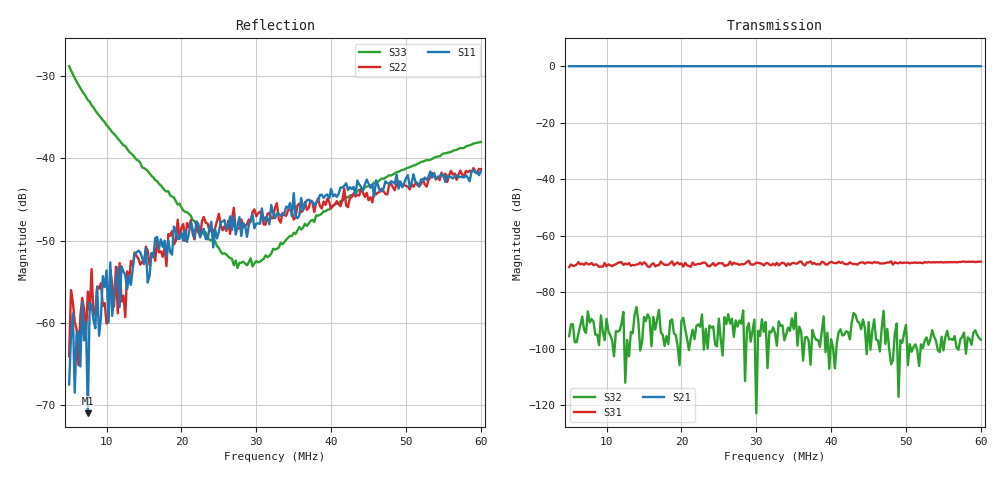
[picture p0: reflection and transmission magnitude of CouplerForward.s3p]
#  HZ  S  DB  R  50.00
! Rohde & Schwarz ZVT8 8Ports - Version 4.11 - 1300.0000k08 SN: 100242
! Date: 2023-12-01 11:24:01
! Measurements: S11 S12 S13 S21 S22 S23 S31 S32 S33
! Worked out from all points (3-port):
!   221 points, 5 MHz to 60 MHz, reference 50 ohm
!   strongest paths, dB at 5 MHz, 18.75 MHz, 32.5 MHz, 46.25 MHz, 60 MHz:
!     S21: 0.0, 0.0, 0.0, 0.0, 0.0
!     S31: -71.1, -69.1, -70.5, -69.5, -69.2
!     S32: -95.6, -89.7, -94.5, -97.1, -96.9
!   lowest |S11| = -71.0 dB at 7.5 MHz (marker M1), VSWR 1.00, Z = 50 - j0.00311 ohm
!   |S11| at or under -10 dB: start of sweep to end of sweep
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5000000  -67.47 6.8  -0.01 -2.2  -70.43 5.0
         -0.02 -2.2  -64.04 -88.1  -94.06 -163.9
         -71.12 6.0  -95.62 98.0  -28.78 111.1
5250000  -61.55 -12.3  -0.02 -2.3  -70.28 3.4
         -0.02 -2.3  -56.00 -78.8  -93.94 -103.3
         -70.23 11.2  -91.43 100.7  -29.30 110.6
5750000  -68.47 -27.9  -0.02 -2.5  -70.20 11.5
         -0.02 -2.5  -59.85 -69.9  -90.35 125.3
         -70.66 8.9  -97.78 -55.3  -30.23 108.9
6250000  -60.99 -84.8  -0.01 -2.7  -70.36 4.5
         -0.02 -2.7  -65.13 -94.4  -97.03 161.9
         -69.39 9.5  -94.63 19.4  -31.04 107.8
6750000  -57.44 -34.8  -0.02 -3.0  -69.97 -1.0
         -0.02 -2.9  -56.94 -50.8  -102.45 -72.9
         -69.95 5.0  -88.67 16.4  -31.84 107.0
7500000  -70.98 -6.3  -0.02 -3.3  -69.80 7.9
         -0.02 -3.2  -56.16 -68.8  -93.79 -152.0
         -70.12 0.5  -86.85 119.9  -32.90 105.4
7750000  -57.55 -70.1  -0.02 -3.3  -69.91 4.4
         -0.02 -3.3  -58.43 -80.0  -95.60 -153.7
         -70.20 1.0  -90.77 149.1  -33.09 105.2
1.05e7  -52.65 -76.6  -0.02 -4.5  -69.99 3.1
        -0.02 -4.5  -53.42 -78.2  -94.54 -140.7
        -70.54 -0.6  -95.34 15.2  -36.48 102.6
3.25e7  -47.26 -91.3  -0.01 -13.8  -68.71 -11.3
        -0.01 -13.8  -45.98 -85.7  -96.44 141.3
        -70.50 -12.9  -94.50 164.5  -51.08 -165.7
6e7  -41.51 -100.9  -0.02 -25.5  -69.27 -23.1
     -0.02 -25.5  -41.29 -95.1  -95.53 91.6
     -69.22 -23.9  -96.87 128.2  -38.00 -141.1
